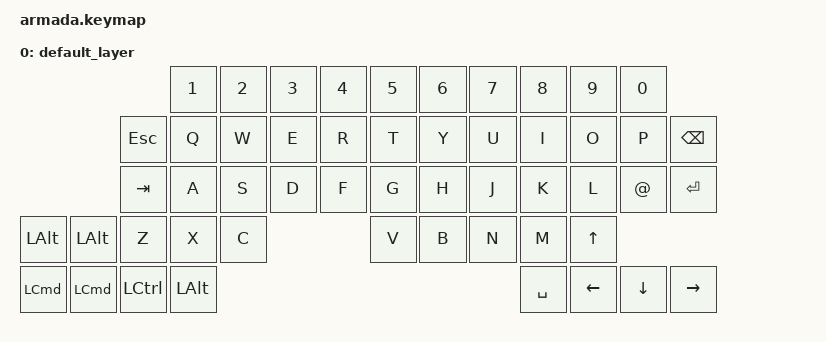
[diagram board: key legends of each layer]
#include <behaviors.dtsi>
#include <dt-bindings/zmk/keys.h>
#include <dt-bindings/zmk/bt.h>

#include <dt-bindings/zmk/ext_power.h>

#define DEF 0
#define LWR 1
#define RSE 2
#define ADJ 3

&lt { quick_tap_ms = <220>; };
&mt { quick_tap_ms = <220>; };

/ {
    macros {

    };
};
/ {
    keymap {
        compatible = "zmk,keymap";
        default_layer {
            bindings = <
                                  &kp 1 &kp 2 &kp 3 &kp 4 &kp 5      &kp 6 &kp 7 &kp 8 &kp 9 &kp 0    
                         &kp ESC  &kp Q &kp W &kp E &kp R &kp T      &kp Y &kp U &kp I &kp O &kp P  &kp BSPC 
                         &kp TAB  &kp A &kp S &kp D &kp F &kp G      &kp H &kp J &kp K &kp L &kp AT &kp RET
                &kp LALT &kp LALT &kp Z &kp X &kp C &kp V &kp B      &kp N &kp M       &kp UP 
                &kp LCMD &kp LCMD            &kp LCTRL &kp LALT      &kp SPACE &kp LEFT &kp DOWN &kp RIGHT 
            >;
        };
    };
};
